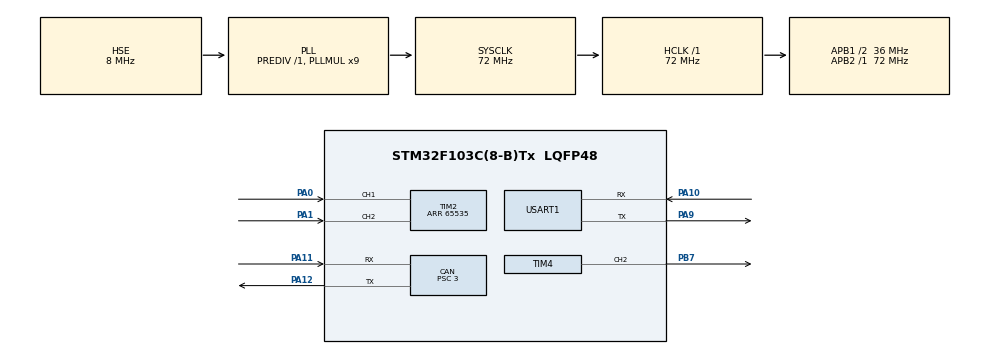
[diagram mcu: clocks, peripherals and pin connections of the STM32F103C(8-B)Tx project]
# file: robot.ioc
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CAN.ABOM=ENABLE
CAN.BS1=CAN_BS1_9TQ
CAN.BS2=CAN_BS2_2TQ
CAN.CalculateTimeBit=1000
CAN.CalculateTimeQuantum=83.33333333333334
CAN.Prescaler=3
CAN.TXFP=ENABLE
Dma.Request0=USART1_RX
Dma.Request1=USART1_TX
Dma.USART1_RX.0.Direction=DMA_PERIPH_TO_MEMORY
Dma.USART1_RX.0.Instance=DMA1_Channel5
Dma.USART1_RX.0.MemDataAlignment=DMA_MDATAALIGN_BYTE
Dma.USART1_RX.0.MemInc=DMA_MINC_ENABLE
Dma.USART1_RX.0.Mode=DMA_NORMAL
Dma.USART1_RX.0.PeriphDataAlignment=DMA_PDATAALIGN_BYTE
Dma.USART1_RX.0.PeriphInc=DMA_PINC_DISABLE
Dma.USART1_RX.0.Priority=DMA_PRIORITY_LOW
Dma.USART1_TX.1.Direction=DMA_MEMORY_TO_PERIPH
Dma.USART1_TX.1.Instance=DMA1_Channel4
Dma.USART1_TX.1.MemDataAlignment=DMA_MDATAALIGN_BYTE
Dma.USART1_TX.1.MemInc=DMA_MINC_ENABLE
Dma.USART1_TX.1.Mode=DMA_NORMAL
Dma.USART1_TX.1.PeriphDataAlignment=DMA_PDATAALIGN_BYTE
Dma.USART1_TX.1.PeriphInc=DMA_PINC_DISABLE
Dma.USART1_TX.1.Priority=DMA_PRIORITY_LOW
Mcu.Family=STM32F1
Mcu.Name=STM32F103C(8-B)Tx
Mcu.Package=LQFP48
NVIC.DMA1_Channel4_IRQn=true\:0\:0\:false\:false\:true\:false\:true
NVIC.DMA1_Channel5_IRQn=true\:0\:0\:false\:false\:true\:false\:true
NVIC.PriorityGroup=NVIC_PRIORITYGROUP_4
NVIC.TIM3_IRQn=true\:1\:0\:true\:false\:true\:true\:true
NVIC.USART1_IRQn=true\:3\:0\:true\:false\:true\:true\:true
NVIC.USB_LP_CAN1_RX0_IRQn=true\:1\:0\:true\:false\:true\:true\:true
PA0-WKUP.Signal=S_TIM2_CH1_ETR
PA1.Signal=S_TIM2_CH2
PA10.Mode=Asynchronous
PA10.Signal=USART1_RX
PA11.Mode=Master
PA11.Signal=CAN_RX
PA12.Mode=Master
PA12.Signal=CAN_TX
PA13.Mode=Serial_Wire
PA13.Signal=SYS_JTMS-SWDIO
PA14.Mode=Serial_Wire
PA14.Signal=SYS_JTCK-SWCLK
PA9.Mode=Asynchronous
PA9.Signal=USART1_TX
PB7.Signal=S_TIM4_CH2
PD0-OSC_IN.Mode=HSE-External-Oscillator
PD0-OSC_IN.Signal=RCC_OSC_IN
PD1-OSC_OUT.Mode=HSE-External-Oscillator
PD1-OSC_OUT.Signal=RCC_OSC_OUT
ProjectManager.HeapSize=0x1000
ProjectManager.StackSize=0x1200
ProjectManager.TargetToolchain=EWARM V8.32
RCC.AHBFreq_Value=72000000
RCC.APB1CLKDivider=RCC_HCLK_DIV2
RCC.APB1Freq_Value=36000000
RCC.APB1TimFreq_Value=72000000
RCC.APB2Freq_Value=72000000
RCC.APB2TimFreq_Value=72000000
RCC.HCLKFreq_Value=72000000
RCC.PLLMUL=RCC_PLL_MUL9
RCC.PLLSourceVirtual=RCC_PLLSOURCE_HSE
RCC.SYSCLKFreq_VALUE=72000000
RCC.SYSCLKSource=RCC_SYSCLKSOURCE_PLLCLK
RCC.USBFreq_Value=72000000
SH.S_TIM2_CH1_ETR.0=TIM2_CH1,Encoder_Interface
SH.S_TIM2_CH2.0=TIM2_CH2,Encoder_Interface
SH.S_TIM4_CH2.0=TIM4_CH2,PWM Generation2 CH2
TIM2.Period=65535
TIM3.AutoReloadPreload=TIM_AUTORELOAD_PRELOAD_ENABLE
TIM3.Period=100-1
TIM3.Prescaler=7200-1
TIM4.AutoReloadPreload=TIM_AUTORELOAD_PRELOAD_ENABLE
TIM4.Channel-PWM\ Generation2\ CH2=TIM_CHANNEL_2
TIM4.Period=1000-1
TIM4.Prescaler=5-1
USART1.VirtualMode=VM_ASYNC
VP_TIM3_VS_ClockSourceINT.Mode=Internal
board=custom

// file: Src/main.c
/* USER CODE BEGIN Header */
/**
  ******************************************************************************
  * @file           : main.c
  * @brief          : Main program body
  ******************************************************************************
  * @attention
  *
  * <h2><center>&copy; Copyright (c) 2020 STMicroelectronics.
  * All rights reserved.</center></h2>
  *
  * This software component is licensed by ST under BSD 3-Clause license,
  * the "License"; You may not use this file except in compliance with the
  * License. You may obtain a copy of the License at:
  *                        opensource.org/licenses/BSD-3-Clause
  *
  ******************************************************************************
  */
/* USER CODE END Header */

#include "main.h"
#include "can.h"
#include "dma.h"
#include "tim.h"
#include "usart.h"
#include "gpio.h"

/* USER CODE BEGIN Includes */
#include "simplelib.h"
#include "flags.h"
#include "robomaster.h"
/* USER CODE END Includes */

void SystemClock_Config(void);

int main(void)
{

  /* MCU Configuration--------------------------------------------------------*/

  /* Reset of all peripherals, Initializes the Flash interface and the Systick. */
  HAL_Init();

  /* Configure the system clock */
  SystemClock_Config();

  /* Initialize all configured peripherals */
  MX_GPIO_Init();
  MX_DMA_Init();
  MX_CAN_Init();
  MX_TIM2_Init();
  MX_TIM3_Init();
  MX_TIM4_Init();
  MX_USART1_UART_Init();
  /* USER CODE BEGIN 2 */
  simplelib_init(&huart1, &hcan);
  HAL_TIM_Base_Start_IT(&htim2);
  HAL_TIM_Base_Start_IT(&htim3);
  TIM3->ARR = 50-1;
  /* USER CODE END 2 */

  /* Infinite loop */
  /* USER CODE BEGIN WHILE */
  M2006_init(0);
  robomaster[0].target_speed = 100;
  uprintf("hellp/r/n");
  can_msg msg;
  for (int i = 0; i < 8; i++)
  {
    msg.ch[i] = 'a' + i;
  }
  can_send_msg(1, &msg);
  while (1)
  {
    simplelib_run();
    /* USER CODE END WHILE */
    if (TIM3_flag)
    {
      /*速度环
      TIM3_flag = 0;
      int count = 65535/2 - TIM2->CNT;
      if(send_wave_flag){
        send_wave(count,pid_goal,0,0);
      }

      float speed = PID_Release(&pid2,pid_goal,count);

      speed = Max(speed ,0);
      speed = Min(speed ,1800);

      TIM4->CCR2 = (int)(1000.0/1800.0*speed);
      //uprintf("%d  %f  %f \r\n",count,speed,(float)TIM4->CCR2/(float)TIM4->ARR);
      TIM2->CNT=65535/2;
      */
      //位置环
      TIM3_flag = 0;
      RoboconMaster_Control();
    }
  }
}

void SystemClock_Config(void)
{
  RCC_OscInitTypeDef RCC_OscInitStruct = {0};
  RCC_ClkInitTypeDef RCC_ClkInitStruct = {0};

  /** Initializes the CPU, AHB and APB busses clocks
  */
  RCC_OscInitStruct.OscillatorType = RCC_OSCILLATORTYPE_HSE;
  RCC_OscInitStruct.HSEState = RCC_HSE_ON;
  RCC_OscInitStruct.HSEPredivValue = RCC_HSE_PREDIV_DIV1;
  RCC_OscInitStruct.HSIState = RCC_HSI_ON;
  RCC_OscInitStruct.PLL.PLLState = RCC_PLL_ON;
  RCC_OscInitStruct.PLL.PLLSource = RCC_PLLSOURCE_HSE;
  RCC_OscInitStruct.PLL.PLLMUL = RCC_PLL_MUL9;
  if (HAL_RCC_OscConfig(&RCC_OscInitStruct) != HAL_OK)
  {
    Error_Handler();
  }
  /** Initializes the CPU, AHB and APB busses clocks
  */
  RCC_ClkInitStruct.ClockType = RCC_CLOCKTYPE_HCLK|RCC_CLOCKTYPE_SYSCLK
                              |RCC_CLOCKTYPE_PCLK1|RCC_CLOCKTYPE_PCLK2;
  RCC_ClkInitStruct.SYSCLKSource = RCC_SYSCLKSOURCE_PLLCLK;
  RCC_ClkInitStruct.AHBCLKDivider = RCC_SYSCLK_DIV1;
  RCC_ClkInitStruct.APB1CLKDivider = RCC_HCLK_DIV2;
  RCC_ClkInitStruct.APB2CLKDivider = RCC_HCLK_DIV1;

  if (HAL_RCC_ClockConfig(&RCC_ClkInitStruct, FLASH_LATENCY_2) != HAL_OK)
  {
    Error_Handler();
  }
}

void Error_Handler(void)
{
}

/************************ (C) COPYRIGHT STMicroelectronics *****END OF FILE****/
